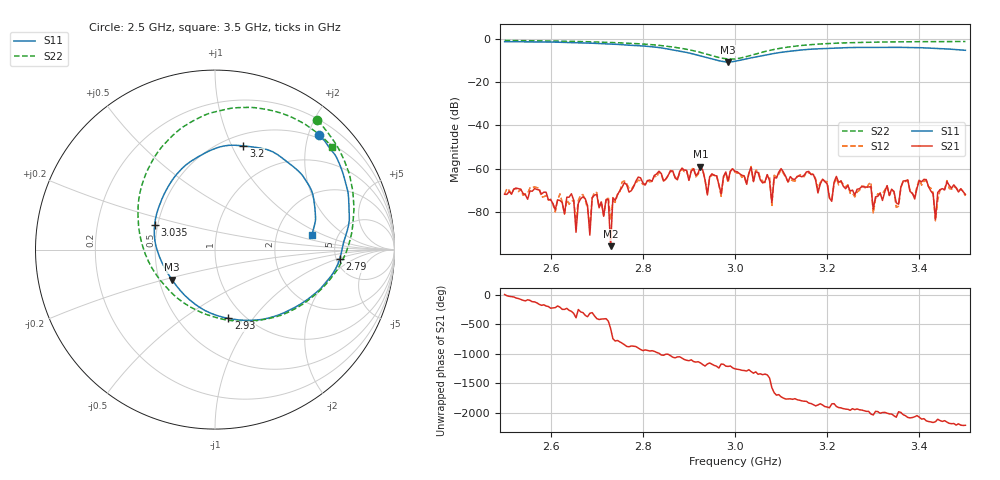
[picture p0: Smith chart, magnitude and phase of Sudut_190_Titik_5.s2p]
# Hz S RI R 50
! CMT, C1220, 16058040, 17.2.0/1
! Date: 15/08/2018 10:25:35
! Data: Format (Calibration Info)
! Freq  S11: Re/Im (F2)  S21: Re/Im (F2)  S12: Re/Im (F2)  S22: Re/Im (F2)
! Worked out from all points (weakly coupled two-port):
!   201 points, 2.5 GHz to 3.5 GHz, reference 50 ohm
!   highest |S21| = -59.00 dB at 2.925 GHz (marker M1); lowest = -95.8 dB at 2.73 GHz (marker M2)
!   lowest |S11| = -10.7 dB at 2.985 GHz (marker M3), VSWR 1.83, Z = 29.2 - j10.7 ohm
!   |S11| at or under -10 dB: 2.963 GHz to 3.008 GHz (44.93 MHz wide, 1.5 % of centre)
!   |S22| runs from -9.3 to -0.7 dB; largest |S21 - S12| = 0.00014
!   S11 on the Smith chart (normalised r, x): 2.5 GHz: 0.44, +2.19; 2.79 GHz: 5.38, -1.08; 2.93 GHz: 0.85, -0.76; 3.035 GHz: 0.48, +0.15; 3.2 GHz: 0.62, +1.11; 3.5 GHz: 3.22, +0.72
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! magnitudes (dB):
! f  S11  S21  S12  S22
! 2.5 GHz  -1.3  -71.8  -71.8  -0.7
! 2.67 GHz  -1.8  -73.0  -71.9  -1.3
! 2.73 GHz  -2.3  -95.8  -83.7  -1.7
! 2.79 GHz  -3.1  -63.9  -65.3  -2.3
! 2.835 GHz  -4.0  -61.1  -61.5  -3.0
! 2.925 GHz  -7.9  -59.0  -59.4  -6.3
! 2.93 GHz  -8.2  -60.7  -60.5  -6.5
! 2.94 GHz  -8.7  -72.1  -71.8  -7.1
! 2.985 GHz  -10.7  -65.5  -66.4  -9.3
! 3 GHz  -10.4  -61.2  -61.6  -9.3
! 3.035 GHz  -8.8  -59.3  -59.0  -7.6
! 3.075 GHz  -7.1  -65.5  -64.0  -5.3
! 3.08 GHz  -6.9  -75.7  -77.0  -5.1
! 3.085 GHz  -6.7  -64.1  -63.0  -4.9
! 3.1 GHz  -6.2  -59.9  -60.3  -4.3
! 3.17 GHz  -4.7  -62.6  -62.6  -2.6
! 3.2 GHz  -4.5  -67.0  -66.0  -2.2
! 3.21 GHz  -4.4  -75.0  -74.3  -2.1
! 3.295 GHz  -4.0  -68.3  -66.3  -1.6
! 3.3 GHz  -4.0  -78.7  -80.7  -1.5
! 3.335 GHz  -3.9  -72.2  -72.4  -1.4
! 3.5 GHz  -5.3  -71.8  -72.6  -1.2
